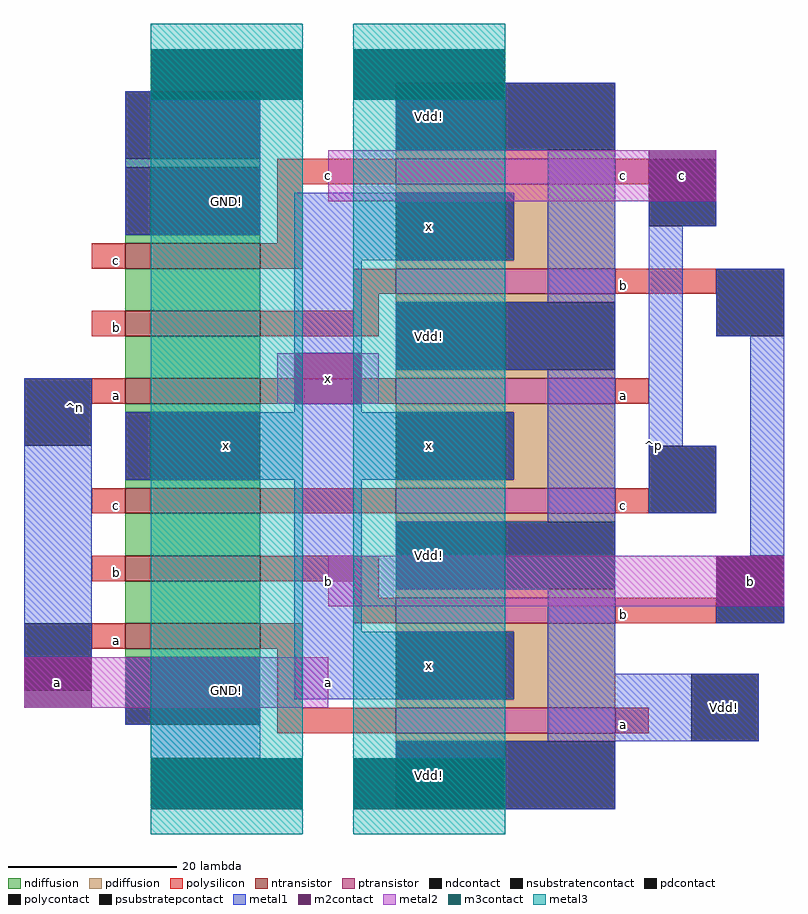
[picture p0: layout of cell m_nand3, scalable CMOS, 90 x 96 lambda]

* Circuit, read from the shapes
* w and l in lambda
.subckt m_nand3 GND! Vdd! a b c x
M1 n1 a GND! GND! nfet w=16 l=3
M2 n2 b n1 GND! nfet w=16 l=3
M3 x c n2 GND! nfet w=16 l=3
M4 n3 a x GND! nfet w=16 l=3
M5 n4 b n3 GND! nfet w=16 l=3
M6 GND! c n4 GND! nfet w=16 l=3
M7 x a Vdd! Vdd! pfet w=26 l=3 m=2
M8 Vdd! b x Vdd! pfet w=26 l=3 m=2
M9 x c Vdd! Vdd! pfet w=26 l=3 m=2
.ends

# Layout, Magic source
magic
tech scmos
<< ndiffusion >>
rect -24 553 -8 554
rect -24 544 -8 545
rect -24 536 -8 541
rect -24 528 -8 533
rect -24 524 -8 525
rect -24 515 -8 516
rect -24 507 -8 512
rect -24 499 -8 504
rect -24 495 -8 496
<< pdiffusion >>
rect 8 554 34 555
rect 8 550 34 551
rect 22 542 34 550
rect 8 541 34 542
rect 8 537 34 538
rect 8 528 34 529
rect 8 524 34 525
rect 22 516 34 524
rect 8 515 34 516
rect 8 511 34 512
rect 8 502 34 503
rect 8 498 34 499
rect 22 490 34 498
rect 8 489 34 490
rect 8 485 34 486
<< ntransistor >>
rect -24 541 -8 544
rect -24 533 -8 536
rect -24 525 -8 528
rect -24 512 -8 515
rect -24 504 -8 507
rect -24 496 -8 499
<< ptransistor >>
rect 8 551 34 554
rect 8 538 34 541
rect 8 525 34 528
rect 8 512 34 515
rect 8 499 34 502
rect 8 486 34 489
<< polysilicon >>
rect -6 551 8 554
rect 34 551 38 554
rect -6 544 -3 551
rect -28 541 -24 544
rect -8 541 -3 544
rect 3 538 8 541
rect 34 538 46 541
rect 3 536 6 538
rect -28 533 -24 536
rect -8 533 6 536
rect -28 525 -24 528
rect -8 525 8 528
rect 34 525 38 528
rect -28 512 -24 515
rect -8 512 8 515
rect 34 512 38 515
rect -28 504 -24 507
rect -8 504 6 507
rect 3 502 6 504
rect 3 499 8 502
rect 34 499 46 502
rect -28 496 -24 499
rect -8 496 -3 499
rect -6 489 -3 496
rect -6 486 8 489
rect 34 486 38 489
<< ndcontact >>
rect -24 545 -8 553
rect -24 516 -8 524
rect -24 487 -8 495
<< pdcontact >>
rect 8 555 34 563
rect 8 542 22 550
rect 8 529 34 537
rect 8 516 22 524
rect 8 503 34 511
rect 8 490 22 498
rect 8 477 34 485
<< psubstratepcontact >>
rect -24 554 -8 562
<< nsubstratencontact >>
rect 43 485 51 493
<< polycontact >>
rect 38 546 46 554
rect 46 533 54 541
rect -36 520 -28 528
rect 38 512 46 520
rect 46 499 54 507
rect -36 491 -28 499
<< metal1 >>
rect -24 561 -21 562
rect 21 561 34 563
rect -24 545 -8 561
rect 8 555 34 561
rect -4 542 22 550
rect -4 531 4 542
rect 26 537 34 555
rect -36 495 -28 528
rect 8 529 34 537
rect -4 524 4 525
rect -24 516 22 524
rect -4 498 4 516
rect 26 511 34 529
rect 38 546 46 549
rect 38 520 42 546
rect 46 533 54 541
rect 38 512 46 520
rect 8 503 34 511
rect 50 507 54 533
rect -24 487 -8 495
rect -4 490 22 498
rect 26 493 34 503
rect 46 499 54 501
rect -21 483 -8 487
rect 26 485 51 493
rect 8 483 34 485
rect 21 477 34 483
<< m2contact >>
rect -21 561 -3 567
rect 3 561 21 567
rect -4 525 4 531
rect 38 549 46 555
rect -36 489 -28 495
rect 46 501 54 507
rect -21 477 -3 483
rect 3 477 21 483
<< metal2 >>
rect 0 549 46 555
rect -6 525 6 531
rect 0 501 54 507
rect -36 489 0 495
<< m3contact >>
rect -21 561 -3 567
rect 3 561 21 567
rect -21 477 -3 483
rect 3 477 21 483
<< metal3 >>
rect -21 474 -3 570
rect 3 474 21 570
<< labels >>
rlabel metal1 -12 549 -12 549 5 GND!
rlabel metal1 -12 520 -12 520 5 x
rlabel metal1 -12 491 -12 491 1 GND!
rlabel polysilicon -25 526 -25 526 3 a
rlabel polysilicon -25 534 -25 534 3 b
rlabel polysilicon -25 542 -25 542 3 c
rlabel polysilicon -25 513 -25 513 3 c
rlabel polysilicon -25 505 -25 505 3 b
rlabel polysilicon -25 497 -25 497 3 a
rlabel polysilicon 35 539 35 539 1 b
rlabel polysilicon 35 526 35 526 1 a
rlabel polysilicon 35 552 35 552 1 c
rlabel polysilicon 35 500 35 500 1 b
rlabel polysilicon 35 487 35 487 1 a
rlabel polysilicon 35 513 35 513 1 c
rlabel m2contact 12 481 12 481 5 Vdd!
rlabel metal1 12 494 12 494 5 x
rlabel metal1 12 507 12 507 5 Vdd!
rlabel metal1 12 520 12 520 1 x
rlabel metal1 12 546 12 546 5 x
rlabel metal1 12 533 12 533 1 Vdd!
rlabel metal1 12 559 12 559 5 Vdd!
rlabel metal2 0 489 0 495 7 a
rlabel metal2 0 501 0 507 3 b
rlabel metal2 0 549 0 555 3 c
rlabel metal2 0 528 0 528 1 x
rlabel space 22 476 55 564 3 ^p
rlabel metal1 47 489 47 489 1 Vdd!
rlabel space -37 486 -23 563 7 ^n
rlabel metal2 -32 492 -32 492 3 a
rlabel metal2 50 504 50 504 7 b
rlabel metal2 42 552 42 552 1 c
<< end >>
